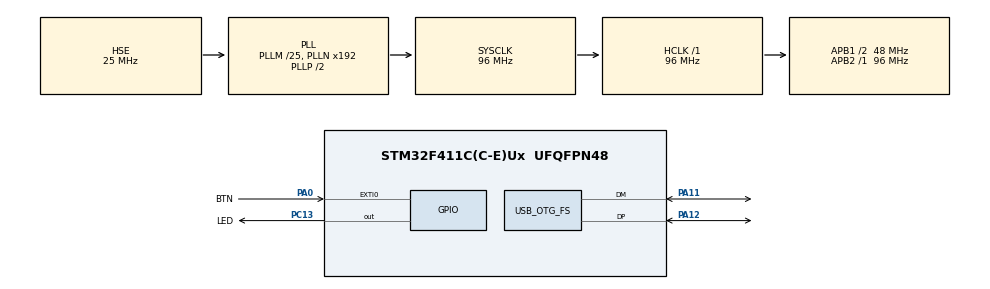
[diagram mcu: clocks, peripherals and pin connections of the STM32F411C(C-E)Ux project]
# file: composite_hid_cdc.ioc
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Mcu.Family=STM32F4
RCC.PLLSourceVirtual=RCC_PLLSOURCE_HSE
USB_DEVICE.CLASS_NAME_FS=CDC
RCC.CortexFreq_Value=96000000
USB_DEVICE.VirtualModeFS=Cdc_FS
USB_DEVICE.INTERFACE_STRING_CDC_FS=CDC + Interface
PC13-ANTI_TAMP.GPIO_Label=LED
PH1\ -\ OSC_OUT.Mode=HSE-External-Oscillator
PA11.Mode=Device_Only
RCC.APB1CLKDivider=RCC_HCLK_DIV2
PA0-WKUP.GPIO_ModeDefaultEXTI=GPIO_MODE_IT_RISING_FALLING
PC13-ANTI_TAMP.PinState=GPIO_PIN_SET
RCC.SYSCLKSource=RCC_SYSCLKSOURCE_PLLCLK
ProjectManager.StackSize=0x400
PA0-WKUP.GPIO_Label=BTN
PA0-WKUP.Signal=GPXTI0
PA13.Signal=SYS_JTMS-SWDIO
USB_DEVICE.MANUFACTURER_STRING=Lars Boegild Thomsen
PA12.Signal=USB_OTG_FS_DP
PH0\ -\ OSC_IN.Mode=HSE-External-Oscillator
PH0\ -\ OSC_IN.Signal=RCC_OSC_IN
ProjectManager.TargetToolchain=STM32CubeIDE
USB_DEVICE.PRODUCT_STRING_CDC_FS=STM32 Composite
RCC.HCLKFreq_Value=96000000
VP_USB_DEVICE_VS_USB_DEVICE_CDC_FS.Mode=CDC_FS
RCC.APB2TimFreq_Value=96000000
USB_DEVICE.CONFIGURATION_STRING_CDC_FS=CDC + HID Config
RCC.LSE_VALUE=32768
RCC.AHBFreq_Value=96000000
RCC.HSE_VALUE=25000000
PH1\ -\ OSC_OUT.Signal=RCC_OSC_OUT
board=custom
PC13-ANTI_TAMP.Signal=GPIO_Output
RCC.VCOOutputFreq_Value=192000000
PC13-ANTI_TAMP.GPIO_ModeDefaultOutputPP=GPIO_MODE_OUTPUT_OD
RCC.APB2Freq_Value=96000000
PA14.Mode=Serial_Wire
PA13.Mode=Serial_Wire
Mcu.Name=STM32F411C(C-E)Ux
RCC.48MHZClocksFreq_Value=48000000
NVIC.EXTI0_IRQn=true\:0\:0\:false\:false\:true\:true\:true
RCC.SYSCLKFreq_VALUE=96000000
Mcu.Package=UFQFPN48
PA12.Mode=Device_Only
NVIC.OTG_FS_IRQn=true\:0\:0\:false\:false\:true\:true\:true
PA11.Signal=USB_OTG_FS_DM
PA14.Signal=SYS_JTCK-SWCLK
USB_OTG_FS.VirtualMode=Device_Only
ProjectManager.HeapSize=0x200
RCC.HSI_VALUE=16000000
NVIC.PriorityGroup=NVIC_PRIORITYGROUP_4
RCC.PLLM=25
RCC.APB1TimFreq_Value=96000000
PA0-WKUP.GPIO_PuPd=GPIO_PULLUP
RCC.APB1Freq_Value=48000000
USB_DEVICE.VirtualMode=Cdc

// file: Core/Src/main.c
/* USER CODE BEGIN Header */
/**
  ******************************************************************************
  * @file           : main.c
  * @brief          : Main program body
  ******************************************************************************
  * @attention
  *
  * <h2><center>&copy; Copyright (c) 2021 STMicroelectronics.
  * All rights reserved.</center></h2>
  *
  * This software component is licensed by ST under BSD 3-Clause license,
  * the "License"; You may not use this file except in compliance with the
  * License. You may obtain a copy of the License at:
  *                        opensource.org/licenses/BSD-3-Clause
  *
  ******************************************************************************
  */
/* USER CODE END Header */
#include "main.h"
#include "usb_device.h"

/* USER CODE BEGIN PD */
#define DFU_BOOT_FLAG 0xDEADBEEF
/* USER CODE END PD */

/* USER CODE BEGIN PV */
extern int _estack;
uint32_t *dfu_boot_flag;
uint32_t push_count = 0;
/* USER CODE END PV */

void SystemClock_Config(void);
static void MX_GPIO_Init(void);

/* USER CODE BEGIN 0 */

int _write(int file, char *ptr, int len) {
        CDC_Transmit_FS((uint8_t*) ptr, len);
        return len;
}

void HAL_GPIO_EXTI_Callback(uint16_t GPIO_Pin) {
	if (GPIO_Pin == BTN_Pin) // If the button
	{
		GPIO_PinState pinState = HAL_GPIO_ReadPin(BTN_GPIO_Port, BTN_Pin);
		if (pinState == GPIO_PIN_RESET) {
			push_count = HAL_GetTick();
		} else {
			if (HAL_GetTick() - push_count > 1000) {
				// Set the boot flag and reset the mcu.  The bootloader
				// will detect the flag and stay in dfu mode.
				//dfu_boot_flag = (uint32_t) DFU_BOOT_FLAG;
				*dfu_boot_flag = DFU_BOOT_FLAG;
				HAL_NVIC_SystemReset();
			}
			push_count = 0;
		}

	}
}

/* USER CODE END 0 */

int main(void)
{
  /* USER CODE BEGIN 1 */
  dfu_boot_flag = (uint32_t *)(&_estack - 100); // 100 bytes below top of stack
  /* USER CODE END 1 */

  /* MCU Configuration--------------------------------------------------------*/

  /* Reset of all peripherals, Initializes the Flash interface and the Systick. */
  HAL_Init();

  /* Configure the system clock */
  SystemClock_Config();

  /* Initialize all configured peripherals */
  MX_GPIO_Init();
  MX_USB_DEVICE_Init();

  /* Infinite loop */
  /* USER CODE BEGIN WHILE */

  uint32_t then = 0, now = 0;

  while (1)
  {

	  now = HAL_GetTick();
	  if (now - then >= 500) {

		  HAL_GPIO_TogglePin(LED_GPIO_Port, LED_Pin);

		  then = now;
	  }

    /* USER CODE END WHILE */

  }
}

void SystemClock_Config(void)
{
  RCC_OscInitTypeDef RCC_OscInitStruct = {0};
  RCC_ClkInitTypeDef RCC_ClkInitStruct = {0};

  /** Configure the main internal regulator output voltage
  */
  __HAL_RCC_PWR_CLK_ENABLE();
  __HAL_PWR_VOLTAGESCALING_CONFIG(PWR_REGULATOR_VOLTAGE_SCALE1);
  /** Initializes the RCC Oscillators according to the specified parameters
  * in the RCC_OscInitTypeDef structure.
  */
  RCC_OscInitStruct.OscillatorType = RCC_OSCILLATORTYPE_HSE;
  RCC_OscInitStruct.HSEState = RCC_HSE_ON;
  RCC_OscInitStruct.PLL.PLLState = RCC_PLL_ON;
  RCC_OscInitStruct.PLL.PLLSource = RCC_PLLSOURCE_HSE;
  RCC_OscInitStruct.PLL.PLLM = 25;
  RCC_OscInitStruct.PLL.PLLN = 192;
  RCC_OscInitStruct.PLL.PLLP = RCC_PLLP_DIV2;
  RCC_OscInitStruct.PLL.PLLQ = 4;
  if (HAL_RCC_OscConfig(&RCC_OscInitStruct) != HAL_OK)
  {
    Error_Handler();
  }
  /** Initializes the CPU, AHB and APB buses clocks
  */
  RCC_ClkInitStruct.ClockType = RCC_CLOCKTYPE_HCLK|RCC_CLOCKTYPE_SYSCLK
                              |RCC_CLOCKTYPE_PCLK1|RCC_CLOCKTYPE_PCLK2;
  RCC_ClkInitStruct.SYSCLKSource = RCC_SYSCLKSOURCE_PLLCLK;
  RCC_ClkInitStruct.AHBCLKDivider = RCC_SYSCLK_DIV1;
  RCC_ClkInitStruct.APB1CLKDivider = RCC_HCLK_DIV2;
  RCC_ClkInitStruct.APB2CLKDivider = RCC_HCLK_DIV1;

  if (HAL_RCC_ClockConfig(&RCC_ClkInitStruct, FLASH_LATENCY_3) != HAL_OK)
  {
    Error_Handler();
  }
}

static void MX_GPIO_Init(void)
{
  GPIO_InitTypeDef GPIO_InitStruct = {0};

  /* GPIO Ports Clock Enable */
  __HAL_RCC_GPIOC_CLK_ENABLE();
  __HAL_RCC_GPIOH_CLK_ENABLE();
  __HAL_RCC_GPIOA_CLK_ENABLE();

  /*Configure GPIO pin Output Level */
  HAL_GPIO_WritePin(LED_GPIO_Port, LED_Pin, GPIO_PIN_SET);

  /*Configure GPIO pin : LED_Pin */
  GPIO_InitStruct.Pin = LED_Pin;
  GPIO_InitStruct.Mode = GPIO_MODE_OUTPUT_OD;
  GPIO_InitStruct.Pull = GPIO_NOPULL;
  GPIO_InitStruct.Speed = GPIO_SPEED_FREQ_LOW;
  HAL_GPIO_Init(LED_GPIO_Port, &GPIO_InitStruct);

  /*Configure GPIO pin : BTN_Pin */
  GPIO_InitStruct.Pin = BTN_Pin;
  GPIO_InitStruct.Mode = GPIO_MODE_IT_RISING_FALLING;
  GPIO_InitStruct.Pull = GPIO_PULLUP;
  HAL_GPIO_Init(BTN_GPIO_Port, &GPIO_InitStruct);

  /* EXTI interrupt init*/
  HAL_NVIC_SetPriority(EXTI0_IRQn, 0, 0);
  HAL_NVIC_EnableIRQ(EXTI0_IRQn);

}

void Error_Handler(void)
{
  __disable_irq();
  while (1)
  {
  }
}

/************************ (C) COPYRIGHT STMicroelectronics *****END OF FILE****/
